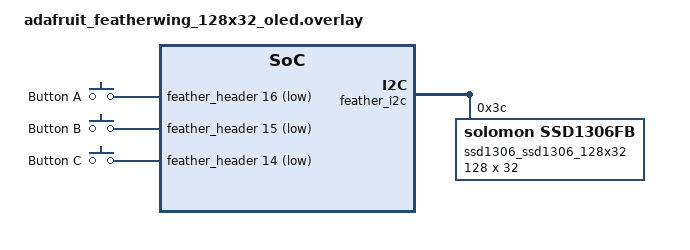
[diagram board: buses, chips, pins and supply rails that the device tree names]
/*
 * Copyright The Zephyr Project Contributors
 *
 * SPDX-License-Identifier: Apache-2.0
 */

/ {
	chosen {
		zephyr,display = &ssd1306_ssd1306_128x32;
	};

	aliases {
		sw0 = &buttonA;
	};

	buttons {
		compatible = "gpio-keys";

		buttonA: button_A {
			gpios = <&feather_header 16 (GPIO_PULL_UP | GPIO_ACTIVE_LOW)>; /* D9 */
			label = "Button A";
			zephyr,code = <INPUT_KEY_A>;
		};

		buttonB: button_B {
			/* Button B has a pull up resistor on board. */
			gpios = <&feather_header 15 GPIO_ACTIVE_LOW>; /* D6 */
			label = "Button B";
			zephyr,code = <INPUT_KEY_B>;
		};

		buttonC: button_C {
			gpios = <&feather_header 14 (GPIO_PULL_UP | GPIO_ACTIVE_LOW)>;	/* D5 */
			label = "Button C";
			zephyr,code = <INPUT_KEY_C>;
		};
	};
};

&feather_i2c {
	ssd1306_ssd1306_128x32: ssd1306@3c {
		compatible = "solomon,ssd1306fb";
		reg = <0x3c>;
		width = <128>;
		height = <32>;
		segment-offset = <0>;
		page-offset = <0>;
		display-offset = <0>;
		multiplex-ratio = <31>;
		segment-remap;
		com-invdir;
		com-sequential;
		prechargep = <0x22>;
	};
};
